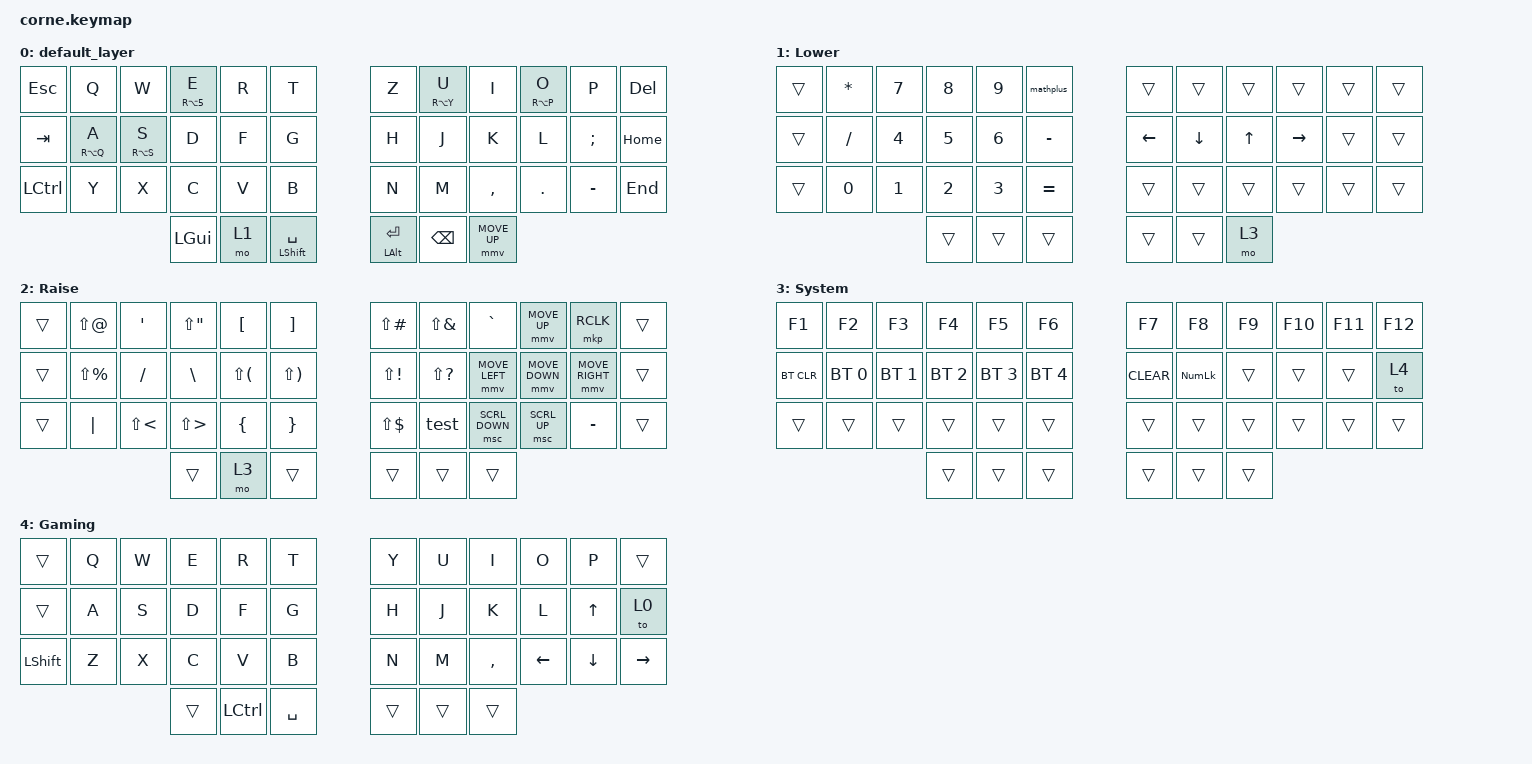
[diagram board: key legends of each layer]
/*
 * Copyright (c) 2020 The ZMK Contributors
 *
 * SPDX-License-Identifier: MIT
 */

#include <behaviors.dtsi>
#include <dt-bindings/zmk/bt.h>
#include <dt-bindings/zmk/keys.h>
#include <dt-bindings/zmk/pointing.h>

&mt { flavor = "tap-preferred"; };

/ {
    macros {
        mathplus: mathplus {
            compatible = "zmk,behavior-macro";
            #binding-cells = <0>;
            bindings = <&none &kp PLUS>;
            label = "MATHPLUS";
        };

        test: test {
            compatible = "zmk,behavior-macro";
            #binding-cells = <0>;
            bindings = <&kp LS(T) &kp Y &kp P &kp E &kp SPACE &kp S &kp O &kp M &kp E &kp T &kp H &kp I &kp N &kp G &kp DOT &kp DOT &kp DOT>;
            label = "TEST";
        };
    };

    keymap {
        compatible = "zmk,keymap";

        default_layer {
            // -----------------------------------------------------------------------------------------
            // |  TAB |  Q  |  W  |  E  |  R  |  T  |   |  Y  |  U   |  I  |  O  |  P  | BKSP |
            // | CTRL |  A  |  S  |  D  |  F  |  G  |   |  H  |  J   |  K  |  L  |  ;  |  '   |
            // | SHFT |  Z  |  X  |  C  |  V  |  B  |   |  N  |  M   |  ,  |  .  |  /  | ESC  |
            //                    | GUI | LWR | SPC |   | ENT | RSE  | ALT |

            // display-name = "Base";
            bindings = <
&kp ESC    &kp Q        &kp W        &mt RA(N5) E  &kp R  &kp T                   &kp Z               &mt RA(Y) U  &kp I         &mt RA(P) O  &kp P      &kp DEL
&kp TAB    &mt RA(Q) A  &mt RA(S) S  &kp D         &kp F  &kp G                   &kp H               &kp J        &kp K         &kp L        &kp SEMI   &kp HOME
&kp LCTRL  &kp Y        &kp X        &kp C         &kp V  &kp B                   &kp N               &kp M        &kp COMMA     &kp DOT      &kp MINUS  &kp END
                                     &kp LGUI      &mo 1  &mt LEFT_SHIFT SPACE    &mt LEFT_ALT ENTER  &kp BSPC     &mmv MOVE_UP
            >;
        };

        lower_layer {
            // -----------------------------------------------------------------------------------------
            // |  TAB |  1  |  2  |  3  |  4  |  5  |   |  6  |  7  |  8  |  9  |  0  | BKSP |
            // | BTCLR| BT1 | BT2 | BT3 | BT4 | BT5 |   | LFT | DWN |  UP | RGT |     |      |
            // | SHFT |     |     |     |     |     |   |     |     |     |     |     |      |
            //                    | GUI |     | SPC |   | ENT |     | ALT |

            display-name = "Lower";
            bindings = <
&trans  &kp ASTERISK  &kp NUMBER_7  &kp NUMBER_8  &kp NUMBER_9  &mathplus    &trans    &trans    &trans  &trans     &trans  &trans
&trans  &kp SLASH     &kp NUMBER_4  &kp NUMBER_5  &kp NUMBER_6  &kp MINUS    &kp LEFT  &kp DOWN  &kp UP  &kp RIGHT  &trans  &trans
&trans  &kp NUMBER_0  &kp NUMBER_1  &kp NUMBER_2  &kp NUMBER_3  &kp EQUAL    &trans    &trans    &trans  &trans     &trans  &trans
                                    &trans        &trans        &trans       &trans    &trans    &mo 3
            >;
        };

        raise_layer {
            // -----------------------------------------------------------------------------------------
            // |  TAB |  !  |  @  |  #  |  $  |  %  |   |  ^  |  &  |  *  |  (  |  )  | BKSP |
            // | CTRL |     |     |     |     |     |   |  -  |  =  |  [  |  ]  |  \  |  `   |
            // | SHFT |     |     |     |     |     |   |  _  |  +  |  {  |  }  | "|" |  ~   |
            //                    | GUI |     | SPC |   | ENT |     | ALT |

            display-name = "Raise";
            bindings = <
&trans  &kp LS(AT)     &kp SQT     &kp LS(DQT)  &kp LBKT        &kp RBKT           &kp LS(POUND)  &kp LS(AMPS)   &kp GRAVE       &mmv MOVE_UP    &mkp RCLK        &trans
&trans  &kp LS(PRCNT)  &kp FSLH    &kp BSLH     &kp LS(LPAR)    &kp LS(RPAR)       &kp LS(EXCL)   &kp LS(QMARK)  &mmv MOVE_LEFT  &mmv MOVE_DOWN  &mmv MOVE_RIGHT  &trans
&trans  &kp PIPE       &kp LS(LT)  &kp LS(GT)   &kp LEFT_BRACE  &kp RIGHT_BRACE    &kp LS(DLLR)   &test          &msc SCRL_DOWN  &msc SCRL_UP    &kp MINUS        &trans
                                   &trans       &mo 3           &trans             &trans         &trans         &trans
            >;
        };

        system_layer {
            bindings = <
&kp F1      &kp F2        &kp F3        &kp F4        &kp F5        &kp F6          &kp F7     &kp F8          &kp F9  &kp F10  &kp F11  &kp F12
&bt BT_CLR  &bt BT_SEL 0  &bt BT_SEL 1  &bt BT_SEL 2  &bt BT_SEL 3  &bt BT_SEL 4    &kp CLEAR  &kp KP_NUMLOCK  &trans  &trans   &trans   &to 4
&trans      &trans        &trans        &trans        &trans        &trans          &trans     &trans          &trans  &trans   &trans   &trans
                                        &trans        &trans        &trans          &trans     &trans          &trans
            >;

            label = "System";
        };

        gaming_layer {
            bindings = <
&trans          &kp Q  &kp W  &kp E   &kp R             &kp T        &kp Y   &kp U   &kp I      &kp O     &kp P     &trans
&trans          &kp A  &kp S  &kp D   &kp F             &kp G        &kp H   &kp J   &kp K      &kp L     &kp UP    &to 0
&kp LEFT_SHIFT  &kp Z  &kp X  &kp C   &kp V             &kp B        &kp N   &kp M   &kp COMMA  &kp LEFT  &kp DOWN  &kp RIGHT
                              &trans  &kp LEFT_CONTROL  &kp SPACE    &trans  &trans  &trans
            >;

            label = "Gaming";
        };

        extra_1 { status = "reserved"; };

        extra_2 { status = "reserved"; };

        extra_3 { status = "reserved"; };
    };
};
